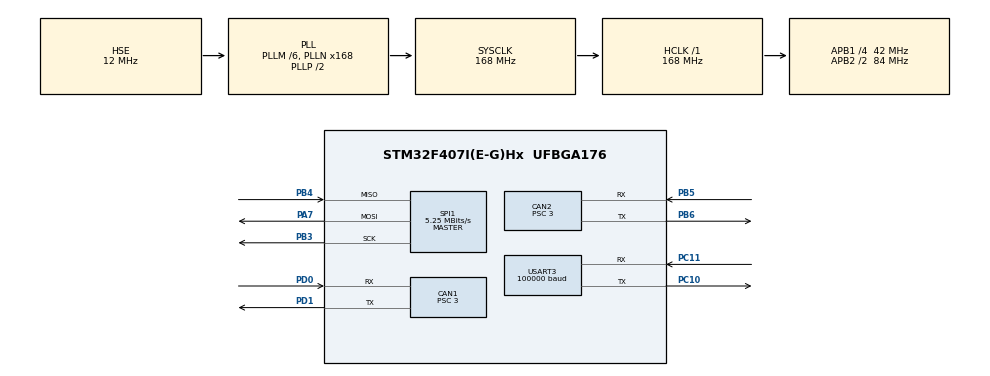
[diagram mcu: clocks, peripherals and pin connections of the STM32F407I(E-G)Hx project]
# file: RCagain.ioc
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CAN1.BS1=CAN_BS1_10TQ
CAN1.BS2=CAN_BS2_3TQ
CAN1.CalculateBaudRate=1000000
CAN1.CalculateTimeBit=1000
CAN1.CalculateTimeQuantum=71.42857142857143
CAN1.Prescaler=3
CAN2.BS1=CAN_BS1_10TQ
CAN2.BS2=CAN_BS2_3TQ
CAN2.CalculateBaudRate=1000000
CAN2.CalculateTimeBit=1000
CAN2.CalculateTimeQuantum=71.42857142857143
CAN2.Prescaler=3
Dma.Request0=USART3_RX
Dma.Request1=USART3_TX
Dma.USART3_RX.0.Direction=DMA_PERIPH_TO_MEMORY
Dma.USART3_RX.0.FIFOMode=DMA_FIFOMODE_DISABLE
Dma.USART3_RX.0.Instance=DMA1_Stream1
Dma.USART3_RX.0.MemDataAlignment=DMA_MDATAALIGN_BYTE
Dma.USART3_RX.0.MemInc=DMA_MINC_ENABLE
Dma.USART3_RX.0.Mode=DMA_NORMAL
Dma.USART3_RX.0.PeriphDataAlignment=DMA_PDATAALIGN_BYTE
Dma.USART3_RX.0.PeriphInc=DMA_PINC_DISABLE
Dma.USART3_RX.0.Priority=DMA_PRIORITY_LOW
Dma.USART3_TX.1.Direction=DMA_MEMORY_TO_PERIPH
Dma.USART3_TX.1.FIFOMode=DMA_FIFOMODE_DISABLE
Dma.USART3_TX.1.Instance=DMA1_Stream3
Dma.USART3_TX.1.MemDataAlignment=DMA_MDATAALIGN_BYTE
Dma.USART3_TX.1.MemInc=DMA_MINC_ENABLE
Dma.USART3_TX.1.Mode=DMA_NORMAL
Dma.USART3_TX.1.PeriphDataAlignment=DMA_PDATAALIGN_BYTE
Dma.USART3_TX.1.PeriphInc=DMA_PINC_DISABLE
Dma.USART3_TX.1.Priority=DMA_PRIORITY_LOW
Mcu.Family=STM32F4
Mcu.Name=STM32F407I(E-G)Hx
Mcu.Package=UFBGA176
NVIC.CAN1_RX0_IRQn=true\:5\:0\:true\:false\:true\:true\:true\:true
NVIC.CAN1_RX1_IRQn=true\:5\:0\:true\:false\:true\:true\:true\:true
NVIC.CAN2_RX0_IRQn=true\:5\:0\:true\:false\:true\:true\:true\:true
NVIC.CAN2_RX1_IRQn=true\:5\:0\:true\:false\:true\:true\:true\:true
NVIC.DMA1_Stream1_IRQn=true\:0\:0\:false\:false\:true\:false\:true\:true
NVIC.DMA1_Stream3_IRQn=true\:0\:0\:false\:false\:true\:false\:true\:true
NVIC.PriorityGroup=NVIC_PRIORITYGROUP_4
NVIC.USART3_IRQn=true\:5\:0\:true\:false\:true\:true\:true\:true
PA13.Mode=Serial_Wire
PA13.Signal=SYS_JTMS-SWDIO
PA14.Mode=Serial_Wire
PA14.Signal=SYS_JTCK-SWCLK
PA7.Mode=Full_Duplex_Master
PA7.Signal=SPI1_MOSI
PB3.Mode=Full_Duplex_Master
PB3.Signal=SPI1_SCK
PB4.Mode=Full_Duplex_Master
PB4.Signal=SPI1_MISO
PB5.Mode=CAN_Activate
PB5.Signal=CAN2_RX
PB6.Mode=CAN_Activate
PB6.Signal=CAN2_TX
PC10.Mode=Asynchronous
PC10.Signal=USART3_TX
PC11.Mode=Asynchronous
PC11.Signal=USART3_RX
PD0.Mode=CAN_Activate
PD0.Signal=CAN1_RX
PD1.Mode=CAN_Activate
PD1.Signal=CAN1_TX
PH0-OSC_IN.Mode=HSE-External-Oscillator
PH0-OSC_IN.Signal=RCC_OSC_IN
PH1-OSC_OUT.Mode=HSE-External-Oscillator
PH1-OSC_OUT.Signal=RCC_OSC_OUT
ProjectManager.HeapSize=0x200
ProjectManager.StackSize=0x400
ProjectManager.TargetToolchain=MDK-ARM V5.32
RCC.48MHZClocksFreq_Value=84000000
RCC.AHBFreq_Value=168000000
RCC.APB1CLKDivider=RCC_HCLK_DIV4
RCC.APB1Freq_Value=42000000
RCC.APB1TimFreq_Value=84000000
RCC.APB2CLKDivider=RCC_HCLK_DIV2
RCC.APB2Freq_Value=84000000
RCC.APB2TimFreq_Value=168000000
RCC.CortexFreq_Value=168000000
RCC.HCLKFreq_Value=168000000
RCC.HSE_VALUE=12000000
RCC.HSI_VALUE=16000000
RCC.LSE_VALUE=32768
RCC.PLLM=6
RCC.PLLN=168
RCC.PLLSourceVirtual=RCC_PLLSOURCE_HSE
RCC.SYSCLKFreq_VALUE=168000000
RCC.SYSCLKSource=RCC_SYSCLKSOURCE_PLLCLK
RCC.VCOOutputFreq_Value=336000000
SPI1.BaudRatePrescaler=SPI_BAUDRATEPRESCALER_16
SPI1.CLKPhase=SPI_PHASE_2EDGE
SPI1.CLKPolarity=SPI_POLARITY_HIGH
SPI1.CalculateBaudRate=5.25 MBits/s
SPI1.Direction=SPI_DIRECTION_2LINES
SPI1.Mode=SPI_MODE_MASTER
SPI1.VirtualType=VM_MASTER
USART3.BaudRate=100000
USART3.Parity=PARITY_EVEN
USART3.StopBits=STOPBITS_2
USART3.VirtualMode=VM_ASYNC
USART3.WordLength=WORDLENGTH_9B
board=custom

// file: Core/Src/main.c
/* USER CODE BEGIN Header */
/**
  ******************************************************************************
  * @file           : main.c
  * @brief          : Main program body
  ******************************************************************************
  * @attention
  *
  * Copyright (c) 2023 STMicroelectronics.
  * All rights reserved.
  *
  * This software is licensed under terms that can be found in the LICENSE file
  * in the root directory of this software component.
  * If no LICENSE file comes with this software, it is provided AS-IS.
  *
  ******************************************************************************
  */
/* USER CODE END Header */
#include "main.h"
#include "can.h"
#include "dma.h"
#include "spi.h"
#include "usart.h"
#include "gpio.h"

/* USER CODE BEGIN Includes */

#include  "rc.h"
#include  "bsp_can.h"
#include  "pid.h"
#include  "motor.h"
#include  "chassis.h"
/* USER CODE END Includes */

/* USER CODE BEGIN PM */

void HAL_UART_RxCpltCallback(UART_HandleTypeDef *huart)
{
    if(huart == &huart3)
    {
			__HAL_UART_CLEAR_IDLEFLAG(&huart3);
			HAL_UART_Transmit_DMA (&huart3,data,25);
			Sbus_DataDecode(&RC,data,channel);
			Sbus_DataCheck(&RC);
			Sbus_DataAnalyze(&RC,channel);
			HAL_UART_Receive_DMA(&huart3, data, 25);
    }
}
/* USER CODE END PM */

void SystemClock_Config(void);

int main(void)
{

  /* MCU Configuration--------------------------------------------------------*/

  /* Reset of all peripherals, Initializes the Flash interface and the Systick. */
  HAL_Init();

  /* Configure the system clock */
  SystemClock_Config();

  /* Initialize all configured peripherals */
  MX_GPIO_Init();
  MX_DMA_Init();
  MX_CAN1_Init();
  MX_USART3_UART_Init();
  MX_CAN2_Init();
  MX_SPI1_Init();
  /* USER CODE BEGIN 2 */

  __HAL_UART_ENABLE_IT(&huart3, UART_IT_IDLE);
  HAL_UART_Receive_DMA(&huart3, data, 25);
   can_filter_init();
	 chassis_init();
	 Motor_init();
  /* USER CODE END 2 */

  /* Infinite loop */
  /* USER CODE BEGIN WHILE */
  while (1)
  {
//		if(RC.sw[0]==0)
//		{
//			Motor_SpedSend(&motor_yaw_info);
//		}
//		if(RC.sw[0]==1)
//		{
//			Motor_CascadeSend(&motor_yaw_info);
//		}
		Chassis_control();
		Gimbal_Control();
		HAL_Delay(10);

    /* USER CODE END WHILE */

  }
}

void SystemClock_Config(void)
{
  RCC_OscInitTypeDef RCC_OscInitStruct = {0};
  RCC_ClkInitTypeDef RCC_ClkInitStruct = {0};

  /** Configure the main internal regulator output voltage
  */
  __HAL_RCC_PWR_CLK_ENABLE();
  __HAL_PWR_VOLTAGESCALING_CONFIG(PWR_REGULATOR_VOLTAGE_SCALE1);

  /** Initializes the RCC Oscillators according to the specified parameters
  * in the RCC_OscInitTypeDef structure.
  */
  RCC_OscInitStruct.OscillatorType = RCC_OSCILLATORTYPE_HSE;
  RCC_OscInitStruct.HSEState = RCC_HSE_ON;
  RCC_OscInitStruct.PLL.PLLState = RCC_PLL_ON;
  RCC_OscInitStruct.PLL.PLLSource = RCC_PLLSOURCE_HSE;
  RCC_OscInitStruct.PLL.PLLM = 6;
  RCC_OscInitStruct.PLL.PLLN = 168;
  RCC_OscInitStruct.PLL.PLLP = RCC_PLLP_DIV2;
  RCC_OscInitStruct.PLL.PLLQ = 4;
  if (HAL_RCC_OscConfig(&RCC_OscInitStruct) != HAL_OK)
  {
    Error_Handler();
  }

  /** Initializes the CPU, AHB and APB buses clocks
  */
  RCC_ClkInitStruct.ClockType = RCC_CLOCKTYPE_HCLK|RCC_CLOCKTYPE_SYSCLK
                              |RCC_CLOCKTYPE_PCLK1|RCC_CLOCKTYPE_PCLK2;
  RCC_ClkInitStruct.SYSCLKSource = RCC_SYSCLKSOURCE_PLLCLK;
  RCC_ClkInitStruct.AHBCLKDivider = RCC_SYSCLK_DIV1;
  RCC_ClkInitStruct.APB1CLKDivider = RCC_HCLK_DIV4;
  RCC_ClkInitStruct.APB2CLKDivider = RCC_HCLK_DIV2;

  if (HAL_RCC_ClockConfig(&RCC_ClkInitStruct, FLASH_LATENCY_5) != HAL_OK)
  {
    Error_Handler();
  }
}

void Error_Handler(void)
{
  __disable_irq();
  while (1)
  {
  }
}
